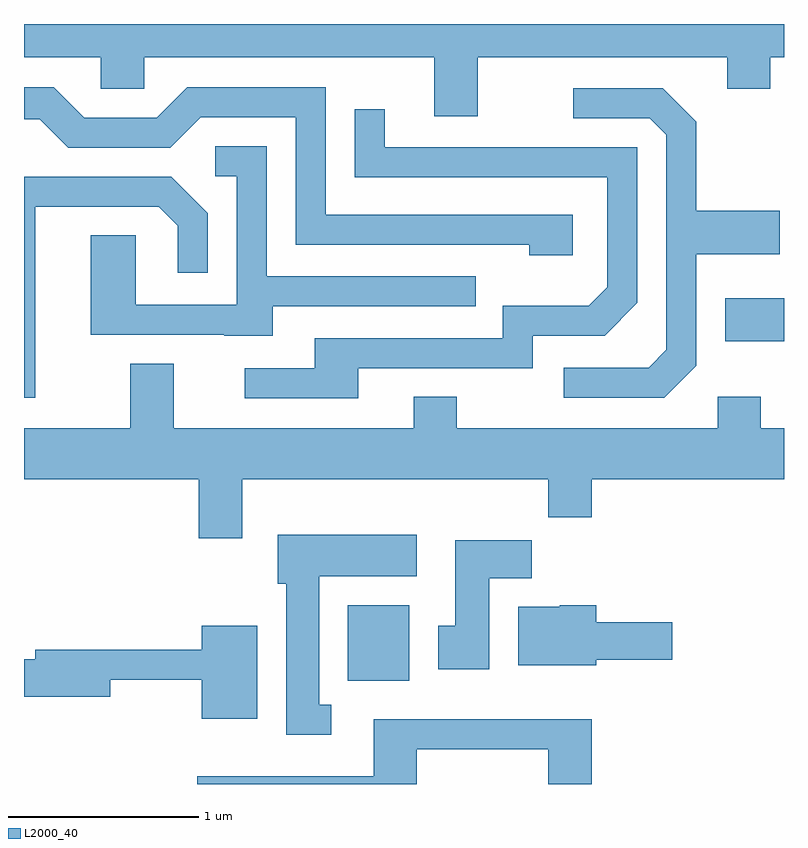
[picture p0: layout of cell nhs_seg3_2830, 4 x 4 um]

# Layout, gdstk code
import gdstk
lib = gdstk.Library(unit=1e-6, precision=1e-09)
def R(c, l, rs):  # rectangles x0, y0, x1, y1
    for r in rs: c.add(gdstk.rectangle(r[:2], r[2:], *l))
def P(c, l, *ps):  # polygons
    for p in ps: c.add(gdstk.Polygon(p, *l))
L2000_40 = (2000, 40)

nhs_seg3_2830 = lib.new_cell('nhs_seg3_2830')
R(nhs_seg3_2830, L2000_40, [(269.316,1200.436,269.639,1200.834), (271.301,1202.221,271.611,1202.449)])
P(nhs_seg3_2830, L2000_40, [(269.999,1203.716),(271.311,1203.716),(271.311,1203.551),(271.539,1203.551),(271.539,1203.716),(271.611,1203.716),(271.611,1203.892),(267.611,1203.892),(267.611,1203.716),(268.016,1203.716),(268.016,1203.551),(268.244,1203.551),(268.244,1203.716),(269.771,1203.716),(269.771,1203.406),(269.999,1203.406)],
  [(270.499,1202.889),(269.199,1202.889),(269.199,1203.559),(268.469,1203.559),(268.309,1203.399),(267.927,1203.399),(267.767,1203.559),(267.611,1203.559),(267.611,1203.391),(267.694,1203.391),(267.844,1203.241),(268.382,1203.241),(268.542,1203.401),(269.041,1203.401),(269.041,1202.731),(270.271,1202.731),(270.271,1202.676),(270.499,1202.676)],
  [(271.149,1202.094),(271.149,1202.681),(271.589,1202.681),(271.589,1202.909),(271.149,1202.909),(271.149,1203.377),(270.972,1203.554),(270.503,1203.554),(270.503,1203.396),(270.904,1203.396),(270.991,1203.309),(270.991,1202.177),(270.899,1202.084),(270.453,1202.084),(270.453,1201.926),(270.982,1201.926)],
  [(269.369,1202.081),(270.289,1202.081),(270.289,1202.251),(270.667,1202.251),(270.839,1202.424),(270.839,1203.244),(269.509,1203.244),(269.509,1203.443),(269.351,1203.443),(269.351,1203.086),(270.681,1203.086),(270.681,1202.507),(270.584,1202.409),(270.131,1202.409),(270.131,1202.239),(269.141,1202.239),(269.141,1202.079),(268.773,1202.079),(268.773,1201.921),(269.369,1201.921)],
  [(268.919,1202.406),(269.988,1202.406),(269.988,1202.564),(268.889,1202.564),(268.889,1203.249),(268.618,1203.249),(268.618,1203.091),(268.731,1203.091),(268.731,1202.414),(268.199,1202.414),(268.199,1202.779),(267.961,1202.779),(267.961,1202.256),(268.665,1202.256),(268.665,1202.251),(268.919,1202.251)],
  [(267.669,1202.931),(268.319,1202.931),(268.421,1202.829),(268.421,1202.583),(268.579,1202.583),(268.579,1202.897),(268.387,1203.089),(267.611,1203.089),(267.611,1201.926),(267.669,1201.926)],
  [(271.611,1201.764),(271.489,1201.764),(271.489,1201.929),(271.261,1201.929),(271.261,1201.764),(269.889,1201.764),(269.889,1201.929),(269.661,1201.929),(269.661,1201.764),(268.399,1201.764),(268.399,1202.104),(268.171,1202.104),(268.171,1201.764),(267.611,1201.764),(267.611,1201.496),(268.531,1201.496),(268.531,1201.186),(268.759,1201.186),(268.759,1201.496),(270.371,1201.496),(270.371,1201.296),(270.599,1201.296),(270.599,1201.496),(271.611,1201.496)],
  [(269.228,1200.309),(269.164,1200.309),(269.164,1200.986),(269.679,1200.986),(269.679,1201.204),(268.946,1201.204),(268.946,1200.946),(268.991,1200.946),(268.991,1200.151),(269.228,1200.151)],
  [(270.059,1200.976),(270.284,1200.976),(270.284,1201.174),(269.881,1201.174),(269.881,1200.724),(269.791,1200.724),(269.791,1200.496),(270.059,1200.496)],
  [(270.624,1200.546),(271.024,1200.546),(271.024,1200.744),(270.624,1200.744),(270.624,1200.834),(270.43,1200.834),(270.43,1200.824),(270.211,1200.824),(270.211,1200.516),(270.624,1200.516)],
  [(268.839,1200.724),(268.546,1200.724),(268.546,1200.599),(267.671,1200.599),(267.671,1200.549),(267.611,1200.549),(267.611,1200.351),(268.064,1200.351),(268.064,1200.441),(268.546,1200.441),(268.546,1200.236),(268.839,1200.236)],
  [(269.679,1200.076),(270.371,1200.076),(270.371,1199.892),(270.599,1199.892),(270.599,1200.234),(269.451,1200.234),(269.451,1199.934),(268.523,1199.934),(268.523,1199.892),(269.679,1199.892)])

lib.write_gds('nhs_seg3_2830.gds')
